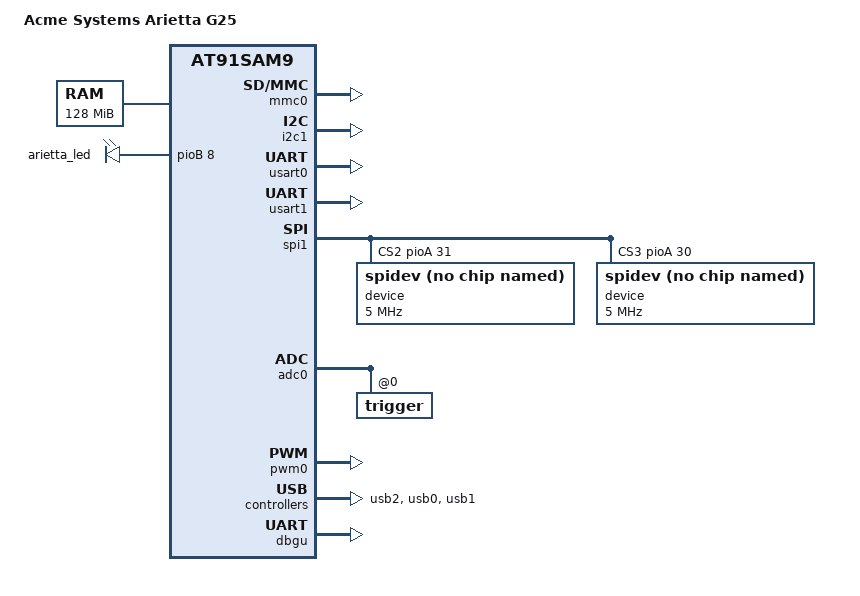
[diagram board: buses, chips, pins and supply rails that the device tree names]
/*
 * acme-arietta.dts - Device Tree file for Arietta G25
 *
 */
 
/dts-v1/;
#include "at91sam9g25.dtsi"

/ {
	model = "Acme Systems Arietta G25";
	compatible = "acme,ariettag25", "atmel,at91sam9x5", "atmel,at91sam9";

	aliases {
		serial0 = &dbgu;
	};

	chosen {
		stdout-path = "serial0:115200n8";
		bootargs = "mem=128M console=ttyS0,115200 root=/dev/mmcblk0p2 rootfstype=ext4 rw rootwait";
	};

	memory {
		reg = <0x20000000 0x8000000>;
	};

	clocks {
		slow_xtal {
			clock-frequency = <32768>;
		};
		main_xtal {
			clock-frequency = <12000000>;
		};
	};

	ahb {
		apb {
			mmc0: mmc@f0008000 {
				pinctrl-0 = <
				  &pinctrl_mmc0_slot0_clk_cmd_dat0
				  &pinctrl_mmc0_slot0_dat1_3>;
				status = "okay";
				slot@0 {
					reg = <0>;
					bus-width = <4>;
				};
			};
			i2c1: i2c@f8014000 {
				status ="okay";
			};
			usart0: serial@f801c000 {
				pinctrl-0 = <&pinctrl_usart0>;
				status ="okay";
			};
			usart1: serial@f8020000 {
				pinctrl-0 = <&pinctrl_usart1>;
				status ="okay";
			};
			spi1: spi@f0004000 {
				status = "okay";
				cs-gpios = <&pioA 8 0>, <&pioA 0 0>, <&pioA 31 0>, <&pioA 30 0>;
				device@2 {
					compatible = "spidev";
					spi-max-frequency = <5000000>;	    // 5 MHz
					reg = <2>;
				};
				device@3 {
					compatible = "spidev";
					spi-max-frequency = <5000000>;	    // 5 MHz
					reg = <3>;
				};
			};

			pinctrl@fffff400 {
				adc0 {
					pinctrl_adc0_ad0: adc0_ad0 {
						atmel,pins = <AT91_PIOB 11 AT91_PERIPH_GPIO AT91_PINCTRL_NONE>;
					};
					pinctrl_adc0_ad1: adc0_ad1 {
						atmel,pins = <AT91_PIOB 12 AT91_PERIPH_GPIO AT91_PINCTRL_NONE>;
					};
					pinctrl_adc0_ad2: adc0_ad2 {
						atmel,pins = <AT91_PIOB 13 AT91_PERIPH_GPIO AT91_PINCTRL_NONE>;
					};
					pinctrl_adc0_ad3: adc0_ad3 {
						atmel,pins = <AT91_PIOB 14 AT91_PERIPH_GPIO AT91_PINCTRL_NONE>;
					};
				};
			};
			
			adc0: adc@f804c000 {
				status = "okay";
				pinctrl-names = "default";
				pinctrl-0 = <&pinctrl_adc0_ad0 &pinctrl_adc0_ad1    >;
				atmel,adc-channels-used = <0xf>;
				atmel,adc-num-channels = <2>;
				compatible = "atmel,at91sam9x5-adc";
				atmel,adc-startup-time = <40>;
				atmel,adc-status-register = <0x1c>;
				atmel,adc-trigger-register = <0x08>;
				atmel,adc-use-external;
				atmel,adc-vref = <3250>;
				atmel,adc-res = <8 10>;
				atmel,adc-res-names = "lowres", "highres";
				atmel,adc-use-res = "highres";
				trigger@0 {
					trigger-name = "continuous";
					trigger-value = <0x6>;
				};
			};

			pinctrl@fffff400 {
				pwm0 {
					pinctrl_pwm0_0: pwm0_0-0 {
						atmel,pins =
							< AT91_PIOB 11 AT91_PERIPH_B AT91_PINCTRL_NONE>;
					};
					pinctrl_pwm0_1: pwm0_1-0 {
						atmel,pins =
							< AT91_PIOB 12 AT91_PERIPH_B AT91_PINCTRL_NONE>;
					};
					pinctrl_pwm0_2: pwm0_2-0 {
						atmel,pins =
							< AT91_PIOB 13 AT91_PERIPH_B AT91_PINCTRL_NONE>;
					};
					pinctrl_pwm0_3: pwm0_3-0 {
						atmel,pins =
							< AT91_PIOB 14 AT91_PERIPH_B AT91_PINCTRL_NONE>;
					};
				};
			};
			pwm0: pwm@f8034000 {
				pinctrl-names = "default";
				pinctrl-0 = <    &pinctrl_pwm0_2 &pinctrl_pwm0_3>;
				status = "okay";
			};

			ssc0: ssc@f0010000 {
				status = "okay";
			};
			usb2: gadget@f803c000 {
				status = "okay";
			};
			dbgu: serial@fffff200 {
				status = "okay";
			};
			pinctrl@fffff400 {
			};
			rtc@fffffeb0 {
				status = "okay";
			};
		};
		usb0: ohci@00600000 {
			status = "okay";
			num-ports = <3>;
		};
		usb1: ehci@00700000 {
			status = "okay";
		};
	};
	leds {
		compatible = "gpio-leds";
		arietta_led {
			label = "arietta_led";
			gpios = <&pioB 8 GPIO_ACTIVE_HIGH>; /* PB8 */
			linux,default-trigger = "heartbeat";
		};
	};
};
